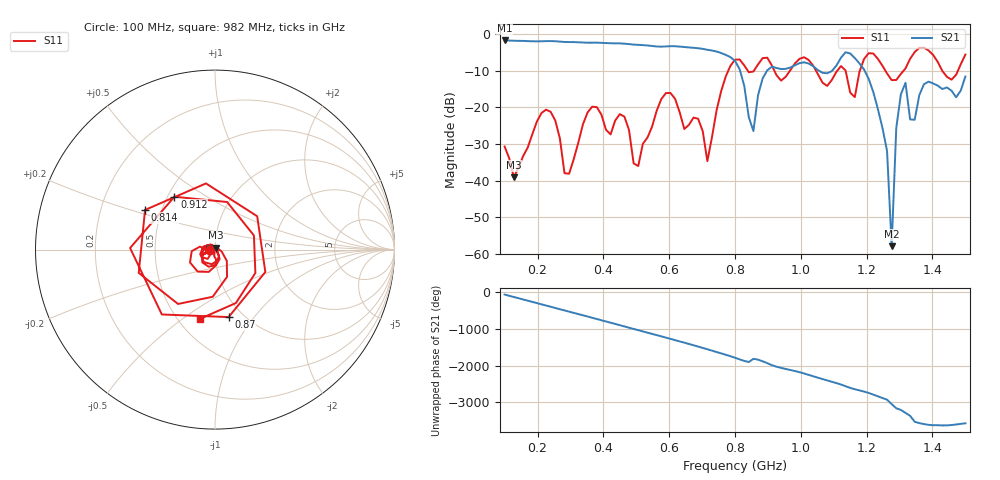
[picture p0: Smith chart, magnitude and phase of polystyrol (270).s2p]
! NanoVNA-App
! Date: 2025-09-25 15:31:59
! Start: 100MHz Stop: 1,5GHz Points: 101
! S-Parameter data: F S11 S21 S12 S22
# Hz S RI R 50
!  Frequency  S11_Real  S11_Imag  S21_Real  S21_Imag  S12_Real  S12_Imag  S22_Real  S22_Imag
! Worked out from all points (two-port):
!   101 points, 100 MHz to 1.5 GHz, reference 50 ohm
!   highest |S21| = -1.80 dB at 100 MHz (marker M1); lowest = -57.9 dB at 1.276 GHz (marker M2)
!   |S21| within 3 dB of the highest: start of sweep to 743.2 MHz
!   lowest |S11| = -39.1 dB at 128 MHz (marker M3), VSWR 1.02, Z = 50.3 + j1.06 ohm
!   |S11| at or under -10 dB: start of sweep to 779.8 MHz; 1.046 GHz to 1.111 GHz (65.35 MHz wide, 6.06 % of centre); 1.257 GHz to 1.313 GHz (55.92 MHz wide, 4.35 % of centre)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
!   S12 and S22 are empty: the file has one direction only
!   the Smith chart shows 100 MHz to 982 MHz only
!   S11 on the Smith chart (normalised r, x): 100 MHz: 0.94, -0.01; 814 MHz: 0.40, +0.22; 870 MHz: 0.86, -0.76; 912 MHz: 0.54, +0.37; 982 MHz: 0.64, -0.58
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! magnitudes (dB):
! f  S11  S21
! 100 MHz  -30.7  -1.8
! 128 MHz  -39.1  -1.9
! 212 MHz  -21.6  -2.0
! 282 MHz  -38.0  -2.2
! 338 MHz  -24.7  -2.4
! 506 MHz  -36.0  -3.0
! 576 MHz  -17.8  -3.5
! 716 MHz  -34.7  -4.3
! 800 MHz  -7.0  -7.4
! 814 MHz  -7.0  -9.6
! 856 MHz  -10.3  -26.5
! 870 MHz  -8.3  -16.7
! 912 MHz  -8.6  -8.9
! 982 MHz  -8.1  -8.6
! 1.038 GHz  -8.7  -8.9
! 1.164 GHz  -17.2  -6.6
! 1.206 GHz  -5.3  -12.2
! 1.262 GHz  -10.8  -31.9
! 1.276 GHz  -12.6  -57.9
! 1.29 GHz  -12.6  -25.6
! 1.318 GHz  -9.4  -13.3
! 1.5 GHz  -5.7  -11.6
